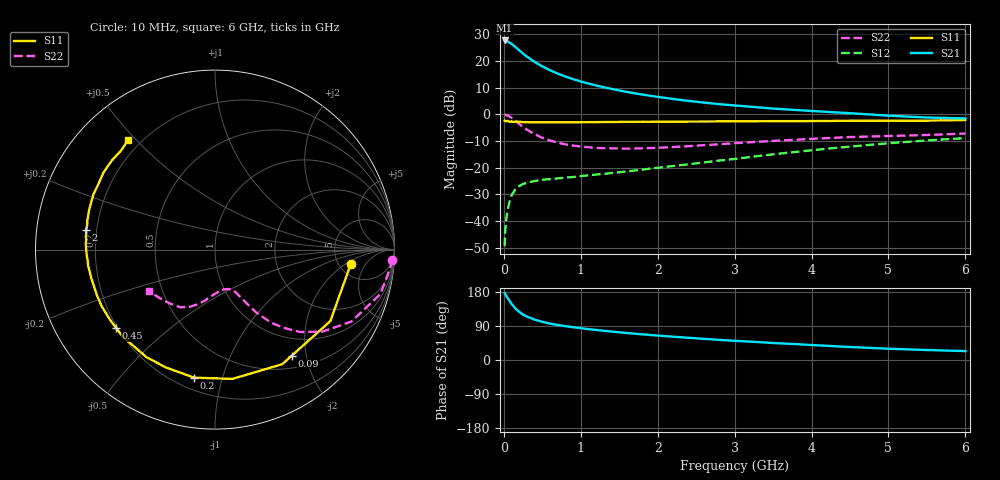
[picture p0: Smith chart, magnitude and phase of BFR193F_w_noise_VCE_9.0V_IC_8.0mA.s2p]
! Infineon Technologies  Discrete & RF Semiconductors
! BFR193F
! VCE =  9.0 V,  IC =  8.0 mA
! Common Emitter S-Parameters:  Jan 2017
# GHz  S  MA  R  50
!  f  S11  S21  S12  S22
! GHz  MAG  ANG  MAG  ANG  MAG  ANG  MAG  ANG
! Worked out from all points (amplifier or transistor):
!   77 points, 10 MHz to 6 GHz, reference 50 ohm
!   highest |S21| = 27.6 dB at 10 MHz (marker M1)
!   |S21| within 3 dB of that: start of sweep to 172.1 MHz
!   unconditionally stable (mu >= 1): 1.659 GHz to 2.871 GHz
!   at 130 MHz: K = 0.14, MSG = 27.3 dB, |S12| = -29.0 dB
!   at 2.2 GHz: K = 1.05, MAG = 11.2 dB, |S12| = -19.4 dB
!   at 6 GHz: K = 0.77, MSG = 3.7 dB, |S12| = -8.9 dB
!   lowest NFmin = 0.84 dB at 450 MHz
!   S11 on the Smith chart (normalised r, x): 10 MHz: 6.39, -2.45; 90 MHz: 0.69, -1.75; 200 MHz: 0.27, -0.81; 450 MHz: 0.19, -0.34; 2 GHz: 0.16, +0.07; 6 GHz: 0.15, +0.47
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0.01  0.7606 -6.1  24.04 176.8  0.0034 84.9  0.9893 -3.2
0.02  0.7436 -13.5  23.64 172.9  0.0073 84.5  0.9808 -6.1
0.05  0.756 -31.8  23.09 163.0  0.0164 75.4  0.9546 -15.0
0.09  0.7294 -54.1  21.19 151.2  0.0273 64.7  0.8749 -25.0
0.1  0.7403 -59.6  20.88 147.9  0.0301 63.3  0.8596 -27.8
0.15  0.7268 -82.3  18.12 136.1  0.0393 54.5  0.7533 -37.3
0.2  0.7228 -99.2  15.73 126.9  0.0454 48.4  0.6601 -44.1
0.25  0.7114 -112.5  13.61 119.9  0.0495 43.6  0.5771 -48.9
0.3  0.7106 -122.5  11.99 114.5  0.0524 40.6  0.5149 -52.4
0.4  0.707 -136.9  9.52 106.3  0.0563 37.9  0.4226 -56.6
0.45  0.703 -141.6  8.67 103.8  0.0579 37.4  0.3925 -57.7
0.6  0.7057 -153.4  6.651 96.1  0.0609 37.0  0.3226 -60.6
0.7  0.7055 -159.0  5.768 92.5  0.0631 38.1  0.2948 -62.1
0.9  0.7076 -167.1  4.544 86.5  0.0669 41.2  0.2589 -64.7
1.1  0.7129 -172.8  3.751 81.4  0.0722 44.8  0.2416 -68.0
1.5  0.7187 179.2  2.787 73.2  0.082 52.3  0.2283 -75.4
2  0.7268 171.5  2.116 64.5  0.0996 60.1  0.2357 -85.5
2.1  0.7257 170.4  2.022 63.0  0.1035 61.2  0.2397 -87.2
3.1  0.7377 159.9  1.422 49.6  0.152 70.0  0.2935 -102.1
4.1  0.747 149.5  1.129 38.5  0.2188 71.8  0.3516 -114.9
5.1  0.7591 138.1  0.926 29.1  0.2936 68.3  0.3949 -132.0
6  0.7792 128.5  0.836 23.5  0.3576 62.8  0.4362 -147.7
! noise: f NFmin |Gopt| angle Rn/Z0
0.45  0.84  0.25  124  0.08
0.9  0.99  0.4  147  0.07
1.9  1.74  0.61  -177  0.05
2.4  2.11  0.64  -167  0.08
